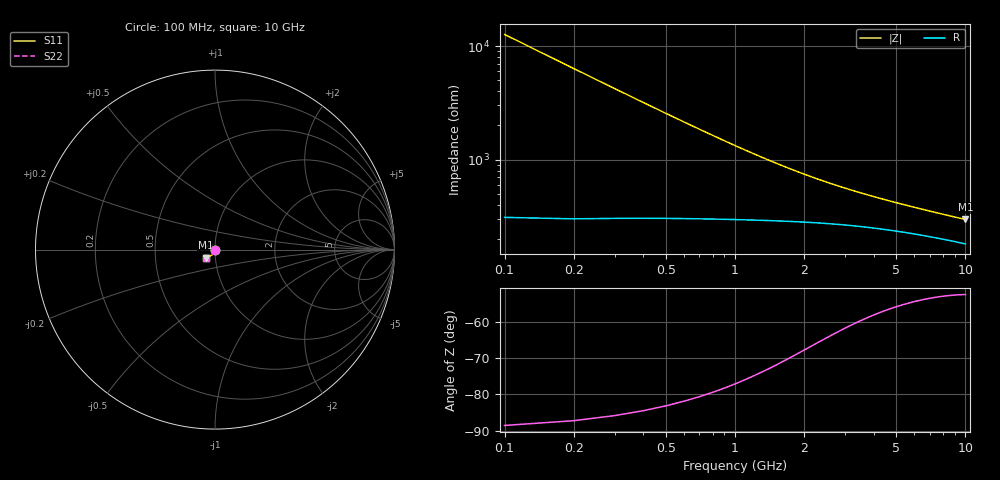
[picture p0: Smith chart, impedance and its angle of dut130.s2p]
! Touchstone file exported from HFSS 2024.1.0
!  File:  C:/UserFiles/LocalFiles/RDL_TSV_Batchsim/temp_TSV1_130_1778753874.aedt
!  Generated:  06:21:22 PM May 14, 2026
!  Design:  TSV1
!  Project:  temp_TSV1_130_1778753874
!  Setup:  Setup1
!  Solution:  Sweep
! Variables:
!  dtsv = 17.5um
!  hbump = 3um
!  htsv = 58.81um
!  lrdl = 252.1521522um
!  p = 40
!  p1 = 43.16um
!  t = 500um
!  trdl = 3um
!  wrdl = 24.89489489um
# GHz S MA R 50.000000
! Terminal data exported
! Port[1] = TSV22_T1
! Port[2] = TSV22_T2
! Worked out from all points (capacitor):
!   100 points, 100 MHz to 10 GHz, reference 50 ohm
!   read as one part in shunt: C = 126 fF near 100 MHz
!   lowest |Z| = 296 ohm at 10 GHz (marker M1)
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0.1  0.001764 -89.3  0.9999 -0.1  0.9999 -0.1  0.001764 -89.3
! Gamma 0 0 0 0
! Port Impedance 50 0 50 0
0.2  0.003543 -91.8  0.9997 -0.2  0.9997 -0.2  0.003543 -91.8
0.3  0.005312 -93.7  0.9994 -0.4  0.9994 -0.4  0.005312 -93.7
0.4  0.007062 -95.5  0.9991 -0.5  0.9991 -0.5  0.007062 -95.5
0.5  0.008789 -97.1  0.9986 -0.6  0.9986 -0.6  0.008789 -97.1
0.6  0.01049 -98.7  0.9981 -0.7  0.9981 -0.7  0.01049 -98.7
0.7  0.01216 -100.2  0.9975 -0.8  0.9975 -0.8  0.01216 -100.2
0.8  0.01379 -101.7  0.9969 -0.9  0.9969 -0.9  0.01379 -101.7
0.9  0.01538 -103.1  0.9962 -1.0  0.9962 -1.0  0.01538 -103.1
1.1  0.01844 -105.9  0.9947 -1.2  0.9947 -1.2  0.01844 -105.9
1.4  0.0227 -109.6  0.9921 -1.5  0.9921 -1.5  0.0227 -109.6
1.6  0.0253 -111.9  0.9903 -1.7  0.9903 -1.7  0.0253 -111.9
1.8  0.02773 -114.0  0.9885 -1.8  0.9885 -1.8  0.02773 -114.0
2.1  0.03106 -116.9  0.9858 -2.0  0.9858 -2.0  0.03106 -116.9
2.5  0.03498 -120.2  0.9824 -2.3  0.9824 -2.3  0.03498 -120.2
2.9  0.03839 -122.9  0.9791 -2.5  0.9791 -2.5  0.03839 -122.9
3.4  0.04209 -125.8  0.9755 -2.7  0.9755 -2.7  0.04209 -125.8
4.2  0.04705 -129.2  0.9704 -3.0  0.9704 -3.0  0.04705 -129.2
5.1  0.05166 -132.1  0.9657 -3.3  0.9657 -3.3  0.05166 -132.1
6.7  0.05826 -135.5  0.9589 -3.7  0.9589 -3.7  0.05826 -135.5
8.4  0.06382 -137.9  0.9534 -4.2  0.9534 -4.2  0.06382 -137.9
10  0.06814 -139.4  0.9492 -4.6  0.9492 -4.6  0.06814 -139.4
